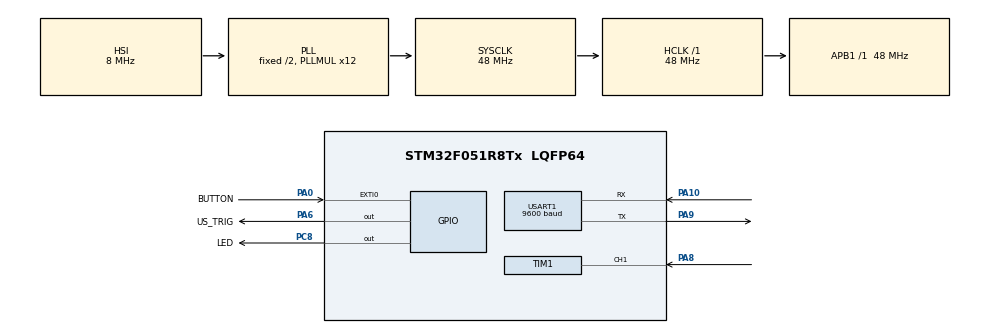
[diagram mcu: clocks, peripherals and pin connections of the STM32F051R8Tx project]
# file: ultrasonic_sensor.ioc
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Mcu.Family=STM32F0
Mcu.Name=STM32F051R8Tx
Mcu.Package=LQFP64
NVIC.EXTI0_1_IRQn=true\:0\:0\:false\:false\:true\:true\:true
NVIC.TIM1_CC_IRQn=true\:0\:0\:false\:false\:true\:true\:true
NVIC.USART1_IRQn=true\:0\:0\:false\:false\:true\:true\:true
PA0.GPIO_Label=BUTTON
PA0.GPIO_ModeDefaultEXTI=GPIO_MODE_IT_RISING
PA0.GPIO_PuPd=GPIO_NOPULL
PA0.Signal=GPXTI0
PA10.Mode=Asynchronous
PA10.Signal=USART1_RX
PA6.GPIO_Label=US_TRIG
PA6.Signal=GPIO_Output
PA8.Signal=S_TIM1_CH1
PA9.Mode=Asynchronous
PA9.Signal=USART1_TX
PC8.GPIO_Label=LED
PC8.PinState=GPIO_PIN_RESET
PC8.Signal=GPIO_Output
ProjectManager.HeapSize=0x200
ProjectManager.StackSize=0x400
ProjectManager.TargetToolchain=STM32CubeIDE
RCC.AHBFreq_Value=48000000
RCC.APB1Freq_Value=48000000
RCC.APB1TimFreq_Value=48000000
RCC.HCLKFreq_Value=48000000
RCC.PLLMUL=RCC_PLL_MUL12
RCC.SYSCLKFreq_VALUE=48000000
RCC.SYSCLKSource=RCC_SYSCLKSOURCE_PLLCLK
SH.S_TIM1_CH1.0=TIM1_CH1,Input_Capture1_from_TI1
TIM1.Channel-Input_Capture1_from_TI1=TIM_CHANNEL_1
TIM1.Period=0xffff-1
TIM1.Prescaler=48-1
USART1.BaudRate=9600
USART1.VirtualMode-Asynchronous=VM_ASYNC
VP_TIM1_VS_ClockSourceINT.Mode=Internal
board=custom

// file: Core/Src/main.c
/* USER CODE BEGIN Header */
/**
  ******************************************************************************
  * @file           : main.c
  * @brief          : Main program body
  ******************************************************************************
  * @attention
  *
  * <h2><center>&copy; Copyright (c) 2021 STMicroelectronics.
  * All rights reserved.</center></h2>
  *
  * This software component is licensed by ST under BSD 3-Clause license,
  * the "License"; You may not use this file except in compliance with the
  * License. You may obtain a copy of the License at:
  *                        opensource.org/licenses/BSD-3-Clause
  *
  ******************************************************************************
  */
/* USER CODE END Header */
#include "main.h"

TIM_HandleTypeDef htim1;

UART_HandleTypeDef huart1;

void SystemClock_Config(void);
static void MX_GPIO_Init(void);
static void MX_TIM1_Init(void);
static void MX_USART1_UART_Init(void);

/* USER CODE BEGIN 0 */
uint32_t First_Val = 0;
uint32_t Sec_Val = 0;
uint32_t Difference = 0;
_Bool Is_First_Captured = 0;  // is the first value captured ?
float Distance  = 0;

void Ultrasonic_Read();
void Send_Data();
/* USER CODE END 0 */

int main(void)
{

  /* MCU Configuration--------------------------------------------------------*/

  /* Reset of all peripherals, Initializes the Flash interface and the Systick. */
  HAL_Init();

  /* Configure the system clock */
  SystemClock_Config();

  /* Initialize all configured peripherals */
  MX_GPIO_Init();
  MX_TIM1_Init();
  MX_USART1_UART_Init();
  /* USER CODE BEGIN 2 */

  HAL_TIM_IC_Start_IT(&htim1, TIM_CHANNEL_1);

  /* USER CODE END 2 */

  /* Infinite loop */
  while (1)
  {

    /* USER CODE BEGIN 3 */

	  Ultrasonic_Read();
	  if(Distance < 10)
	  {
		  HAL_GPIO_WritePin(LED_GPIO_Port, LED_Pin, GPIO_PIN_RESET);
	  }
	  else
	  {
		  HAL_GPIO_WritePin(LED_GPIO_Port, LED_Pin, GPIO_PIN_SET);
	  }
	  Send_Data();
	  HAL_Delay(200);

  }
  /* USER CODE END 3 */
}

void SystemClock_Config(void)
{
  RCC_OscInitTypeDef RCC_OscInitStruct = {0};
  RCC_ClkInitTypeDef RCC_ClkInitStruct = {0};
  RCC_PeriphCLKInitTypeDef PeriphClkInit = {0};

  /** Initializes the RCC Oscillators according to the specified parameters
  * in the RCC_OscInitTypeDef structure.
  */
  RCC_OscInitStruct.OscillatorType = RCC_OSCILLATORTYPE_HSI;
  RCC_OscInitStruct.HSIState = RCC_HSI_ON;
  RCC_OscInitStruct.HSICalibrationValue = RCC_HSICALIBRATION_DEFAULT;
  RCC_OscInitStruct.PLL.PLLState = RCC_PLL_ON;
  RCC_OscInitStruct.PLL.PLLSource = RCC_PLLSOURCE_HSI;
  RCC_OscInitStruct.PLL.PLLMUL = RCC_PLL_MUL12;
  RCC_OscInitStruct.PLL.PREDIV = RCC_PREDIV_DIV1;
  if (HAL_RCC_OscConfig(&RCC_OscInitStruct) != HAL_OK)
  {
    Error_Handler();
  }
  /** Initializes the CPU, AHB and APB buses clocks
  */
  RCC_ClkInitStruct.ClockType = RCC_CLOCKTYPE_HCLK|RCC_CLOCKTYPE_SYSCLK
                              |RCC_CLOCKTYPE_PCLK1;
  RCC_ClkInitStruct.SYSCLKSource = RCC_SYSCLKSOURCE_PLLCLK;
  RCC_ClkInitStruct.AHBCLKDivider = RCC_SYSCLK_DIV1;
  RCC_ClkInitStruct.APB1CLKDivider = RCC_HCLK_DIV1;

  if (HAL_RCC_ClockConfig(&RCC_ClkInitStruct, FLASH_LATENCY_1) != HAL_OK)
  {
    Error_Handler();
  }
  PeriphClkInit.PeriphClockSelection = RCC_PERIPHCLK_USART1;
  PeriphClkInit.Usart1ClockSelection = RCC_USART1CLKSOURCE_PCLK1;
  if (HAL_RCCEx_PeriphCLKConfig(&PeriphClkInit) != HAL_OK)
  {
    Error_Handler();
  }
}

static void MX_TIM1_Init(void)
{

  TIM_ClockConfigTypeDef sClockSourceConfig = {0};
  TIM_MasterConfigTypeDef sMasterConfig = {0};
  TIM_IC_InitTypeDef sConfigIC = {0};

  htim1.Instance = TIM1;
  htim1.Init.Prescaler = 48-1;
  htim1.Init.CounterMode = TIM_COUNTERMODE_UP;
  htim1.Init.Period = 0xffff-1;
  htim1.Init.ClockDivision = TIM_CLOCKDIVISION_DIV1;
  htim1.Init.RepetitionCounter = 0;
  htim1.Init.AutoReloadPreload = TIM_AUTORELOAD_PRELOAD_DISABLE;
  if (HAL_TIM_Base_Init(&htim1) != HAL_OK)
  {
    Error_Handler();
  }
  sClockSourceConfig.ClockSource = TIM_CLOCKSOURCE_INTERNAL;
  if (HAL_TIM_ConfigClockSource(&htim1, &sClockSourceConfig) != HAL_OK)
  {
    Error_Handler();
  }
  if (HAL_TIM_IC_Init(&htim1) != HAL_OK)
  {
    Error_Handler();
  }
  sMasterConfig.MasterOutputTrigger = TIM_TRGO_RESET;
  sMasterConfig.MasterSlaveMode = TIM_MASTERSLAVEMODE_DISABLE;
  if (HAL_TIMEx_MasterConfigSynchronization(&htim1, &sMasterConfig) != HAL_OK)
  {
    Error_Handler();
  }
  sConfigIC.ICPolarity = TIM_INPUTCHANNELPOLARITY_RISING;
  sConfigIC.ICSelection = TIM_ICSELECTION_DIRECTTI;
  sConfigIC.ICPrescaler = TIM_ICPSC_DIV1;
  sConfigIC.ICFilter = 0;
  if (HAL_TIM_IC_ConfigChannel(&htim1, &sConfigIC, TIM_CHANNEL_1) != HAL_OK)
  {
    Error_Handler();
  }

}

static void MX_USART1_UART_Init(void)
{

  huart1.Instance = USART1;
  huart1.Init.BaudRate = 9600;
  huart1.Init.WordLength = UART_WORDLENGTH_8B;
  huart1.Init.StopBits = UART_STOPBITS_1;
  huart1.Init.Parity = UART_PARITY_NONE;
  huart1.Init.Mode = UART_MODE_TX_RX;
  huart1.Init.HwFlowCtl = UART_HWCONTROL_NONE;
  huart1.Init.OverSampling = UART_OVERSAMPLING_16;
  huart1.Init.OneBitSampling = UART_ONE_BIT_SAMPLE_DISABLE;
  huart1.AdvancedInit.AdvFeatureInit = UART_ADVFEATURE_NO_INIT;
  if (HAL_UART_Init(&huart1) != HAL_OK)
  {
    Error_Handler();
  }

}

static void MX_GPIO_Init(void)
{
  GPIO_InitTypeDef GPIO_InitStruct = {0};

  /* GPIO Ports Clock Enable */
  __HAL_RCC_GPIOA_CLK_ENABLE();
  __HAL_RCC_GPIOC_CLK_ENABLE();

  /*Configure GPIO pin Output Level */
  HAL_GPIO_WritePin(US_TRIG_GPIO_Port, US_TRIG_Pin, GPIO_PIN_RESET);

  /*Configure GPIO pin Output Level */
  HAL_GPIO_WritePin(LED_GPIO_Port, LED_Pin, GPIO_PIN_RESET);

  /*Configure GPIO pin : BUTTON_Pin */
  GPIO_InitStruct.Pin = BUTTON_Pin;
  GPIO_InitStruct.Mode = GPIO_MODE_IT_RISING;
  GPIO_InitStruct.Pull = GPIO_NOPULL;
  HAL_GPIO_Init(BUTTON_GPIO_Port, &GPIO_InitStruct);

  /*Configure GPIO pin : US_TRIG_Pin */
  GPIO_InitStruct.Pin = US_TRIG_Pin;
  GPIO_InitStruct.Mode = GPIO_MODE_OUTPUT_PP;
  GPIO_InitStruct.Pull = GPIO_NOPULL;
  GPIO_InitStruct.Speed = GPIO_SPEED_FREQ_LOW;
  HAL_GPIO_Init(US_TRIG_GPIO_Port, &GPIO_InitStruct);

  /*Configure GPIO pin : LED_Pin */
  GPIO_InitStruct.Pin = LED_Pin;
  GPIO_InitStruct.Mode = GPIO_MODE_OUTPUT_PP;
  GPIO_InitStruct.Pull = GPIO_NOPULL;
  GPIO_InitStruct.Speed = GPIO_SPEED_FREQ_LOW;
  HAL_GPIO_Init(LED_GPIO_Port, &GPIO_InitStruct);

  /* EXTI interrupt init*/
  HAL_NVIC_SetPriority(EXTI0_1_IRQn, 0, 0);
  HAL_NVIC_EnableIRQ(EXTI0_1_IRQn);

}

/* USER CODE BEGIN 4 */
void delay (uint16_t time)
{
	__HAL_TIM_SET_COUNTER(&htim1, 0);
	while (__HAL_TIM_GET_COUNTER (&htim1) < time);
}

void Ultrasonic_Read()
{
	HAL_GPIO_WritePin(US_TRIG_GPIO_Port, US_TRIG_Pin, GPIO_PIN_SET);
	delay(10);
	HAL_GPIO_WritePin(US_TRIG_GPIO_Port, US_TRIG_Pin, GPIO_PIN_RESET);
	__HAL_TIM_ENABLE_IT(&htim1, TIM_IT_CC1);

}

// the callback function

void HAL_TIM_IC_CaptureCallback(TIM_HandleTypeDef *htim)
{
	if((htim->Instance == TIM1) && (htim-> Channel == HAL_TIM_ACTIVE_CHANNEL_1))
	{
	// if the interrupt source is channel1

			if (!Is_First_Captured) // if the first value is not captured
			{
				First_Val = HAL_TIM_ReadCapturedValue(htim, TIM_CHANNEL_1); // read the first value
				// Now change the polarity to falling edge
				__HAL_TIM_SET_CAPTUREPOLARITY(htim, TIM_CHANNEL_1, TIM_INPUTCHANNELPOLARITY_FALLING);
				Is_First_Captured = 1;  // set the first captured as true
			}

			else
			{
				Sec_Val = HAL_TIM_ReadCapturedValue(htim, TIM_CHANNEL_1);  // read second value
				__HAL_TIM_SET_COUNTER(htim, 0);  // reset the counter

				if (Sec_Val > First_Val)
				{
					Difference = Sec_Val-First_Val;
				}

				else if (First_Val > Sec_Val)
				{
					Difference = (0xffff - First_Val) + Sec_Val;
				}

				Distance = Difference * .034/2;

				// set polarity to rising edge
				__HAL_TIM_SET_CAPTUREPOLARITY(htim, TIM_CHANNEL_1, TIM_INPUTCHANNELPOLARITY_RISING);
				__HAL_TIM_DISABLE_IT(&htim1, TIM_IT_CC1);
				Is_First_Captured = 0; // set it back to false
			}

	}

}

char TEXT[25] = {0};

void Send_Data()
{
    sprintf(TEXT, "Distance = %.2fcm\r\n", Distance);
//    sprintf(TEXT, "%.2f\r\n", Difference);
//    sprintf(str, "%d, %d\r\n", First_Val, Sec_Val);

    HAL_UART_Transmit_IT(&huart1, TEXT, sizeof(TEXT));
}

/* USER CODE END 4 */

void Error_Handler(void)
{
  __disable_irq();
  while (1)
  {
  }
}

/************************ (C) COPYRIGHT STMicroelectronics *****END OF FILE****/
